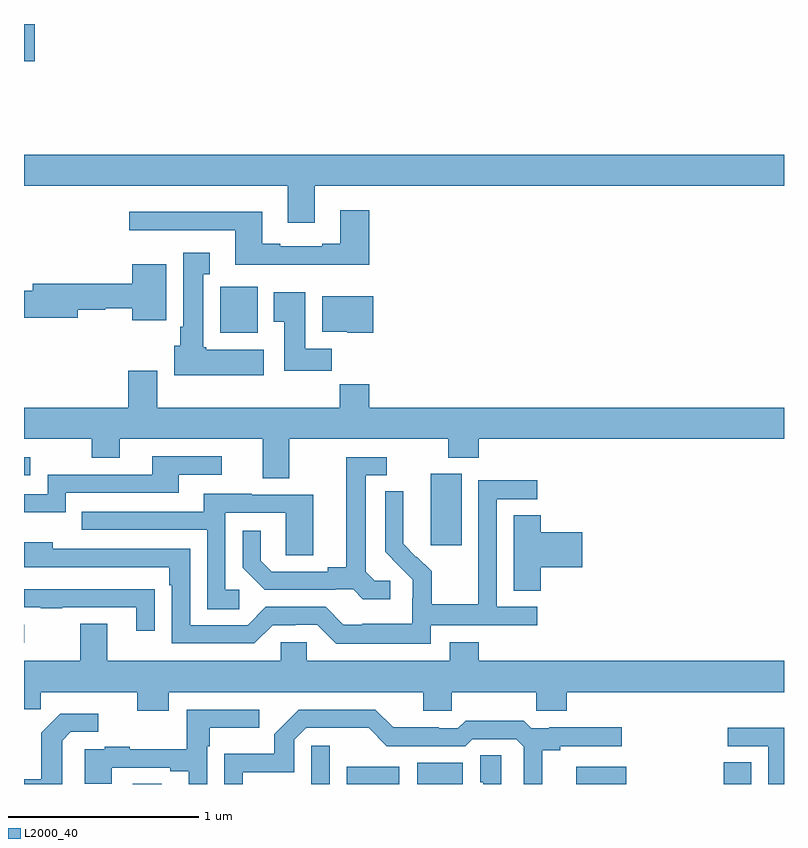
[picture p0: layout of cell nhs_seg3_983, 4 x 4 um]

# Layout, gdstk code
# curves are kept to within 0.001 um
import gdstk
lib = gdstk.Library(unit=1e-6, precision=1e-09)
def R(c, l, rs):  # rectangles x0, y0, x1, y1
    for r in rs: c.add(gdstk.rectangle(r[:2], r[2:], *l))
def P(c, l, *ps):  # polygons
    for p in ps: c.add(gdstk.Polygon(p, *l))
L2000_40 = (2000, 40)

nhs_seg3_983 = lib.new_cell('nhs_seg3_983')
R(nhs_seg3_983, L2000_40, [(161.573,732.4,161.725,732.401), (162.513,732.4,162.609,732.601), (162.698,732.4,162.976,732.49), (163.07,732.4,163.309,732.511), (163.907,732.4,164.17,732.49), (164.684,732.4,164.827,732.515), (161,733.143,161.002,733.239), (163.142,733.656,163.303,734.032), (161,734.025,161.032,734.121), (162.032,734.774,162.229,735.016), (161,736.205,161.057,736.4)])
P(nhs_seg3_983, L2000_40, [(162.529,735.548),(165,735.548),(165,735.712),(161,735.712),(161,735.548),(162.389,735.548),(162.389,735.354),(162.529,735.354)],
  [(162.818,735.421),(162.665,735.421),(162.665,735.244),(162.569,735.244),(162.569,735.231),(162.349,735.231),(162.349,735.244),(162.253,735.244),(162.253,735.412),(161.553,735.412),(161.553,735.315),(162.113,735.315),(162.113,735.134),(162.818,735.134)],
  [(162.262,734.686),(161.958,734.686),(161.958,734.7),(161.944,734.7),(161.944,735.083),(161.977,735.083),(161.977,735.196),(161.837,735.196),(161.837,734.806),(161.822,734.806),(161.822,734.706),(161.792,734.706),(161.792,734.552),(162.262,734.552)],
  [(161.749,735.136),(161.57,735.136),(161.57,735.032),(161.045,735.032),(161.045,734.996),(161,734.996),(161,734.854),(161.284,734.854),(161.284,734.896),(161.427,734.896),(161.427,734.904),(161.57,734.904),(161.57,734.84),(161.749,734.84)],
  [(162.62,734.692),(162.481,734.692),(162.481,734.989),(162.314,734.989),(162.314,734.833),(162.371,734.833),(162.371,734.574),(162.62,734.574)],
  [(162.838,734.968),(162.569,734.968),(162.569,734.78),(162.702,734.78),(162.702,734.774),(162.838,734.774)],
  [(162.818,734.504),(162.661,734.504),(162.661,734.38),(161.701,734.38),(161.701,734.575),(161.549,734.575),(161.549,734.38),(161,734.38),(161,734.216),(161.356,734.216),(161.356,734.117),(161.503,734.117),(161.503,734.216),(162.257,734.216),(162.257,734.008),(162.397,734.008),(162.397,734.216),(163.234,734.216),(163.234,734.117),(163.394,734.117),(163.394,734.216),(165,734.216),(165,734.38),(162.818,734.38)],
  [(161.22,733.932),(161.815,733.932),(161.815,734.028),(162.04,734.028),(162.04,734.124),(161.675,734.124),(161.675,734.028),(161.124,734.028),(161.124,733.926),(161,733.926),(161,733.829),(161.22,733.829)],
  [(162.928,733.47),(162.846,733.47),(162.799,733.517),(162.799,734.025),(162.91,734.025),(162.91,734.121),(162.695,734.121),(162.695,733.541),(162.599,733.541),(162.599,733.518),(162.304,733.518),(162.247,733.575),(162.247,733.732),(162.15,733.732),(162.15,733.538),(162.266,733.422),(162.638,733.422),(162.638,733.425),(162.732,733.425),(162.784,733.373),(162.928,733.373)],
  [(163.14,733.236),(163.702,733.236),(163.702,733.332),(163.488,733.332),(163.488,733.899),(163.702,733.899),(163.702,733.998),(163.392,733.998),(163.392,733.568),(163.39,733.568),(163.39,733.345),(163.145,733.345),(163.145,733.519),(163.068,733.596),(163.065,733.593),(162.995,733.664),(162.995,733.768),(162.997,733.768),(162.997,733.94),(162.9,733.94),(162.9,733.622),(163.046,733.474),(163.046,733.377),(163.044,733.377),(163.044,733.243),(162.781,733.243),(162.781,733.239),(162.681,733.239),(162.588,733.332),(162.273,733.332),(162.177,733.236),(161.874,733.236),(161.874,733.638),(161.15,733.638),(161.15,733.672),(161,733.672),(161,733.542),(161.765,733.542),(161.765,733.445),(161.778,733.445),(161.778,733.14),(162.213,733.14),(162.309,733.236),(162.428,733.236),(162.428,733.239),(162.543,733.239),(162.643,733.139),(163.14,733.139)],
  [(162.133,733.422),(162.06,733.422),(162.06,733.827),(162.378,733.827),(162.378,733.603),(162.523,733.603),(162.523,733.923),(162.199,733.923),(162.199,733.927),(161.945,733.927),(161.945,733.833),(161.305,733.833),(161.305,733.737),(161.964,733.737),(161.964,733.321),(162.133,733.321)],
  [(163.721,733.541),(163.939,733.541),(163.939,733.724),(163.721,733.724),(163.721,733.814),(163.577,733.814),(163.577,733.417),(163.721,733.417)],
  [(161.687,733.424),(161.585,733.424),(161.585,733.425),(161,733.425),(161,733.329),(161.089,733.329),(161.089,733.324),(161.201,733.324),(161.201,733.329),(161.591,733.329),(161.591,733.206),(161.687,733.206)],
  [(161.761,732.884),(163.1,732.884),(163.1,732.786),(163.251,732.786),(163.251,732.884),(163.696,732.884),(163.696,732.786),(163.856,732.786),(163.856,732.884),(165,732.884),(165,733.048),(163.394,733.048),(163.394,733.147),(163.241,733.147),(163.241,733.048),(162.489,733.048),(162.489,733.146),(162.351,733.146),(162.351,733.048),(161.437,733.048),(161.437,733.243),(161.297,733.243),(161.297,733.048),(161,733.048),(161,732.794),(161.087,732.794),(161.087,732.884),(161.597,732.884),(161.597,732.785),(161.761,732.785)],
  [(161.964,732.599),(161.977,732.599),(161.977,732.695),(162.238,732.695),(162.238,732.792),(161.856,732.792),(161.856,732.584),(161.557,732.584),(161.557,732.595),(161.425,732.595),(161.425,732.582),(161.321,732.582),(161.321,732.402),(161.461,732.402),(161.461,732.486),(161.771,732.486),(161.771,732.468),(161.867,732.468),(161.867,732.4),(161.964,732.4)],
  [(162.15,732.462),(162.423,732.462),(162.423,732.633),(162.486,732.696),(162.815,732.695),(162.909,732.6),(163.323,732.6),(163.359,732.636),(163.59,732.636),(163.629,732.597),(163.629,732.4),(163.727,732.4),(163.727,732.578),(163.822,732.578),(163.822,732.6),(164.146,732.6),(164.146,732.698),(163.765,732.698),(163.765,732.693),(163.671,732.693),(163.631,732.733),(163.324,732.733),(163.284,732.693),(163.184,732.693),(163.184,732.698),(162.944,732.698),(162.849,732.792),(162.446,732.792),(162.316,732.662),(162.316,732.559),(162.054,732.559),(162.054,732.4),(162.15,732.4)],
  [(161.202,732.533),(161.2,732.533),(161.2,732.628),(161.247,732.675),(161.392,732.675),(161.392,732.769),(161.191,732.769),(161.091,732.669),(161.091,732.424),(161,732.424),(161,732.4),(161.202,732.4)],
  [(165,732.696),(164.703,732.696),(164.703,732.6),(164.916,732.6),(164.916,732.4),(165,732.4)],
  [(163.512,732.551),(163.4,732.551),(163.4,732.408),(163.416,732.408),(163.416,732.4),(163.512,732.4)])

lib.write_gds('nhs_seg3_983.gds')
